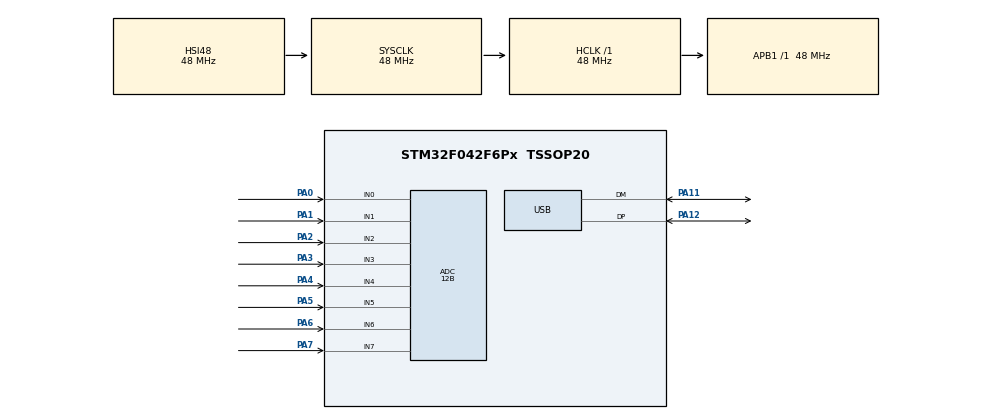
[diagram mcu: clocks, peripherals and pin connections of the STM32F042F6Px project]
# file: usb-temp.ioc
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ADC.ClockPrescaler=ADC_CLOCK_ASYNC_DIV1
ADC.ContinuousConvMode=ENABLE
ADC.DMAContinuousRequests=ENABLE
ADC.DataAlign=ADC_DATAALIGN_RIGHT
ADC.EOCSelection=ADC_EOC_SEQ_CONV
ADC.Overrun=ADC_OVR_DATA_OVERWRITTEN
ADC.Resolution=ADC_RESOLUTION_12B
ADC.SamplingTime=ADC_SAMPLETIME_239CYCLES_5
Dma.ADC.0.Direction=DMA_PERIPH_TO_MEMORY
Dma.ADC.0.Instance=DMA1_Channel1
Dma.ADC.0.MemDataAlignment=DMA_MDATAALIGN_WORD
Dma.ADC.0.MemInc=DMA_MINC_ENABLE
Dma.ADC.0.Mode=DMA_CIRCULAR
Dma.ADC.0.PeriphDataAlignment=DMA_PDATAALIGN_WORD
Dma.ADC.0.PeriphInc=DMA_PINC_DISABLE
Dma.ADC.0.Priority=DMA_PRIORITY_MEDIUM
Dma.Request0=ADC
Mcu.Family=STM32F0
Mcu.Name=STM32F042F6Px
Mcu.Package=TSSOP20
NVIC.DMA1_Channel1_IRQn=true\:0\:0\:false\:false\:true\:false\:true\:true
NVIC.USB_IRQn=true\:0\:0\:false\:false\:true\:false\:true\:true
PA0.Signal=SharedAnalog_PA0
PA1.Signal=SharedAnalog_PA1
PA11.Mode=Device
PA11.Signal=USB_DM
PA12.Mode=Device
PA12.Signal=USB_DP
PA13.Mode=Serial_Wire
PA13.Signal=SYS_SWDIO
PA14.Mode=Serial_Wire
PA14.Signal=SYS_SWCLK
PA2.Signal=SharedAnalog_PA2
PA3.Signal=SharedAnalog_PA3
PA4.Signal=SharedAnalog_PA4
PA5.Signal=SharedAnalog_PA5
PA6.Signal=SharedAnalog_PA6
PA7.Signal=SharedAnalog_PA7
ProjectManager.HeapSize=0x200
ProjectManager.StackSize=0x400
ProjectManager.TargetToolchain=STM32CubeIDE
RCC.AHBFreq_Value=48000000
RCC.APB1Freq_Value=48000000
RCC.APB1TimFreq_Value=48000000
RCC.HCLKFreq_Value=48000000
RCC.SYSCLKFreq_VALUE=48000000
RCC.SYSCLKSource=RCC_SYSCLKSOURCE_HSI48
RCC.USBFreq_Value=48000000
SH.SharedAnalog_PA0.0=GPIO_Analog
SH.SharedAnalog_PA0.1=ADC_IN0,IN0
SH.SharedAnalog_PA1.0=GPIO_Analog
SH.SharedAnalog_PA1.1=ADC_IN1,IN1
SH.SharedAnalog_PA2.0=GPIO_Analog
SH.SharedAnalog_PA2.1=ADC_IN2,IN2
SH.SharedAnalog_PA3.0=GPIO_Analog
SH.SharedAnalog_PA3.1=ADC_IN3,IN3
SH.SharedAnalog_PA4.0=GPIO_Analog
SH.SharedAnalog_PA4.1=ADC_IN4,IN4
SH.SharedAnalog_PA5.0=GPIO_Analog
SH.SharedAnalog_PA5.1=ADC_IN5,IN5
SH.SharedAnalog_PA6.0=GPIO_Analog
SH.SharedAnalog_PA6.1=ADC_IN6,IN6
SH.SharedAnalog_PA7.0=GPIO_Analog
SH.SharedAnalog_PA7.1=ADC_IN7,IN7
USB_DEVICE.APP_RX_DATA_SIZE=128
USB_DEVICE.APP_TX_DATA_SIZE=128
USB_DEVICE.CLASS_NAME_FS=CDC
USB_DEVICE.VirtualMode=Cdc
USB_DEVICE.VirtualModeFS=Cdc_FS
VP_ADC_TempSens_Input.Mode=IN-TempSens
VP_SYS_VS_PINREMAP.Mode=PINREMAP
VP_USB_DEVICE_VS_USB_DEVICE_CDC_FS.Mode=CDC_FS
board=custom

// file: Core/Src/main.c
/* USER CODE BEGIN Header */
/**
  ******************************************************************************
  * @file           : main.c
  * @brief          : Main program body
  ******************************************************************************
  * @attention
  *
  * Copyright (c) 2023 STMicroelectronics.
  * All rights reserved.
  *
  * This software is licensed under terms that can be found in the LICENSE file
  * in the root directory of this software component.
  * If no LICENSE file comes with this software, it is provided AS-IS.
  *
  ******************************************************************************
  */
/* USER CODE END Header */
#include "main.h"
#include "usb_device.h"

/* USER CODE BEGIN Includes */
#include "usbd_cdc_if.h"
#include <math.h>
/* USER CODE END Includes */

ADC_HandleTypeDef hadc;
DMA_HandleTypeDef hdma_adc;

/* USER CODE BEGIN PV */
uint32_t adc[9]; //AD results will be stored here 0-7, Internal Temperature 8

const uint8_t* json1 = (const uint8_t*)"{ \"temp\" : ["; //14
const uint8_t* json2 = (const uint8_t*)"] }\n"; //4
const uint8_t* sep   = (const uint8_t*)", ";

/* USER CODE END PV */

void SystemClock_Config(void);
static void MX_GPIO_Init(void);
static void MX_DMA_Init(void);
static void MX_ADC_Init(void);

/* USER CODE BEGIN 0 */
double thermistor_to_temperature(
		double resistance
	   ,double nominal_resistance
	   ,double beta_value
	   ,double nominal_temperature
	   )
{
    // Steinhart-Hart equation
    double steinhart = log(resistance / nominal_resistance) / beta_value;
    steinhart += 1.0 / (nominal_temperature + 273.15);
    steinhart = 1.0 / steinhart - 273.15;

    return steinhart;
}

uint16_t pow10(uint8_t x)
{
	uint16_t res = 1;
	for (uint8_t i = 0; i < x; i++) {
		res*=10;
	}
	return res;
}

uint8_t toString(double number, uint8_t *target, uint8_t size)
/*
 * Target must be at least 6 long "ABC.EF"
 */
{
	//integer part
	uint8_t realsize = 4;
	uint16_t x = (uint16_t)number;
	uint8_t f = (uint8_t)((number-x)*100);
	uint16_t d = pow10(size-2-1-1); //2 for the float part, 1 for the '.'
	uint8_t leading = 1;

	for(uint8_t i = 0; i<size-3; i++) {
		uint8_t res = x/d;
		x -= d*res;
		d /= 10;
		target[i] = res+0x30;
		if (leading) {
			if (res != 0) {
				leading = 0;
			}
		} else {
			realsize++;
		}
	}

	//float part
	target[size-3] = '.';
	uint8_t temp = f/10;
	target[size-2] = temp+0x30;
	target[size-1] = f-(temp*10)+0x30;

	return realsize;
}

void calibrateAD() {
	  HAL_ADCEx_Calibration_Start(&hadc);
	  while (HAL_ADC_GetState(&hadc) != HAL_ADC_STATE_READY) {}
}
/* USER CODE END 0 */

int main(void)
{

  /* MCU Configuration--------------------------------------------------------*/

  /* Reset of all peripherals, Initializes the Flash interface and the Systick. */
  HAL_Init();

  /* Configure the system clock */
  SystemClock_Config();

  /* Initialize all configured peripherals */
  MX_GPIO_Init();
  MX_DMA_Init();
  MX_ADC_Init();
  MX_USB_DEVICE_Init();
  /* USER CODE BEGIN 2 */
  calibrateAD();
  HAL_ADC_Start_DMA(&hadc, adc, 9); //Start AD conversion with DM
  uint8_t data[8] = {0};
  uint32_t avg[9] = {0};
  uint32_t cnt = 0;
  float res = 0, powersource = 0;
  /* USER CODE END 2 */

  /* Infinite loop */
  /* USER CODE BEGIN WHILE */
  //TODO: Calibrate internal sensor, re-calibrate AD if internal changes +-5Celsius
  while (1)
  {
	  //Running average for all channel
	  for (uint8_t x = 0 ; x < 9; x++) {
		  avg[x] += adc[x];
		  avg[x] /= 2;
	  }
	  cnt++;
	  //We collect this many - but don't forget that this is our loop here actual runs are far more our sampling is depending on the main loop run time
	  if (cnt == 320000) { //Magic number generated by how fast I can read on serial console - can be changed, but the lower the number the more USB Bandwidth we will use

		  while (CDC_Transmit_FS((uint8_t*)json1, 14) != USBD_OK) {}; //Send json1
		  //Send Channel values
		  for (uint8_t x = 0 ; x < 9; x++) {
			  //Convert AD value to voltage
			  powersource = 3.3/4096;
			  res = avg[x]*powersource/4096;
			  //Calculate the R of the NTC
			  res = res/(powersource-res)*10000;
			  //Convert R to Temperature
			  res = thermistor_to_temperature(res, 10000, 3950, 25);
			  //Fix non connected NTC to 0
			  if (res < 0) res = 0;
			  //Convert the value to characters
			  uint8_t s = toString(res, data, 8);
			  //Send number
			  while (CDC_Transmit_FS(&data[8-s], s) != USBD_OK) {};
			  //Add "," unless this is the last value in the array
			  if (x != 8) while (CDC_Transmit_FS((uint8_t*)sep, 2) != USBD_OK) {};
		  }

		  while (CDC_Transmit_FS((uint8_t*)json2, 4) != USBD_OK) {}; //Send json2
		  cnt = 0;
	  }
    /* USER CODE END WHILE */

  }
}

void SystemClock_Config(void)
{
  RCC_OscInitTypeDef RCC_OscInitStruct = {0};
  RCC_ClkInitTypeDef RCC_ClkInitStruct = {0};
  RCC_PeriphCLKInitTypeDef PeriphClkInit = {0};

  /** Initializes the RCC Oscillators according to the specified parameters
  * in the RCC_OscInitTypeDef structure.
  */
  RCC_OscInitStruct.OscillatorType = RCC_OSCILLATORTYPE_HSI14|RCC_OSCILLATORTYPE_HSI48;
  RCC_OscInitStruct.HSI48State = RCC_HSI48_ON;
  RCC_OscInitStruct.HSI14State = RCC_HSI14_ON;
  RCC_OscInitStruct.HSI14CalibrationValue = 16;
  RCC_OscInitStruct.PLL.PLLState = RCC_PLL_NONE;
  if (HAL_RCC_OscConfig(&RCC_OscInitStruct) != HAL_OK)
  {
    Error_Handler();
  }

  /** Initializes the CPU, AHB and APB buses clocks
  */
  RCC_ClkInitStruct.ClockType = RCC_CLOCKTYPE_HCLK|RCC_CLOCKTYPE_SYSCLK
                              |RCC_CLOCKTYPE_PCLK1;
  RCC_ClkInitStruct.SYSCLKSource = RCC_SYSCLKSOURCE_HSI48;
  RCC_ClkInitStruct.AHBCLKDivider = RCC_SYSCLK_DIV1;
  RCC_ClkInitStruct.APB1CLKDivider = RCC_HCLK_DIV1;

  if (HAL_RCC_ClockConfig(&RCC_ClkInitStruct, FLASH_LATENCY_1) != HAL_OK)
  {
    Error_Handler();
  }
  PeriphClkInit.PeriphClockSelection = RCC_PERIPHCLK_USB;
  PeriphClkInit.UsbClockSelection = RCC_USBCLKSOURCE_HSI48;

  if (HAL_RCCEx_PeriphCLKConfig(&PeriphClkInit) != HAL_OK)
  {
    Error_Handler();
  }
}

static void MX_ADC_Init(void)
{

  ADC_ChannelConfTypeDef sConfig = {0};

  /** Configure the global features of the ADC (Clock, Resolution, Data Alignment and number of conversion)
  */
  hadc.Instance = ADC1;
  hadc.Init.ClockPrescaler = ADC_CLOCK_ASYNC_DIV1;
  hadc.Init.Resolution = ADC_RESOLUTION_12B;
  hadc.Init.DataAlign = ADC_DATAALIGN_RIGHT;
  hadc.Init.ScanConvMode = ADC_SCAN_DIRECTION_FORWARD;
  hadc.Init.EOCSelection = ADC_EOC_SEQ_CONV;
  hadc.Init.LowPowerAutoWait = DISABLE;
  hadc.Init.LowPowerAutoPowerOff = DISABLE;
  hadc.Init.ContinuousConvMode = ENABLE;
  hadc.Init.DiscontinuousConvMode = DISABLE;
  hadc.Init.ExternalTrigConv = ADC_SOFTWARE_START;
  hadc.Init.ExternalTrigConvEdge = ADC_EXTERNALTRIGCONVEDGE_NONE;
  hadc.Init.DMAContinuousRequests = ENABLE;
  hadc.Init.Overrun = ADC_OVR_DATA_OVERWRITTEN;
  if (HAL_ADC_Init(&hadc) != HAL_OK)
  {
    Error_Handler();
  }

  /** Configure for the selected ADC regular channel to be converted.
  */
  sConfig.Channel = ADC_CHANNEL_0;
  sConfig.Rank = ADC_RANK_CHANNEL_NUMBER;
  sConfig.SamplingTime = ADC_SAMPLETIME_239CYCLES_5;
  if (HAL_ADC_ConfigChannel(&hadc, &sConfig) != HAL_OK)
  {
    Error_Handler();
  }

  /** Configure for the selected ADC regular channel to be converted.
  */
  sConfig.Channel = ADC_CHANNEL_1;
  if (HAL_ADC_ConfigChannel(&hadc, &sConfig) != HAL_OK)
  {
    Error_Handler();
  }

  /** Configure for the selected ADC regular channel to be converted.
  */
  sConfig.Channel = ADC_CHANNEL_2;
  if (HAL_ADC_ConfigChannel(&hadc, &sConfig) != HAL_OK)
  {
    Error_Handler();
  }

  /** Configure for the selected ADC regular channel to be converted.
  */
  sConfig.Channel = ADC_CHANNEL_3;
  if (HAL_ADC_ConfigChannel(&hadc, &sConfig) != HAL_OK)
  {
    Error_Handler();
  }

  /** Configure for the selected ADC regular channel to be converted.
  */
  sConfig.Channel = ADC_CHANNEL_4;
  if (HAL_ADC_ConfigChannel(&hadc, &sConfig) != HAL_OK)
  {
    Error_Handler();
  }

  /** Configure for the selected ADC regular channel to be converted.
  */
  sConfig.Channel = ADC_CHANNEL_5;
  if (HAL_ADC_ConfigChannel(&hadc, &sConfig) != HAL_OK)
  {
    Error_Handler();
  }

  /** Configure for the selected ADC regular channel to be converted.
  */
  sConfig.Channel = ADC_CHANNEL_6;
  if (HAL_ADC_ConfigChannel(&hadc, &sConfig) != HAL_OK)
  {
    Error_Handler();
  }

  /** Configure for the selected ADC regular channel to be converted.
  */
  sConfig.Channel = ADC_CHANNEL_7;
  if (HAL_ADC_ConfigChannel(&hadc, &sConfig) != HAL_OK)
  {
    Error_Handler();
  }

  /** Configure for the selected ADC regular channel to be converted.
  */
  sConfig.Channel = ADC_CHANNEL_TEMPSENSOR;
  if (HAL_ADC_ConfigChannel(&hadc, &sConfig) != HAL_OK)
  {
    Error_Handler();
  }

}

static void MX_DMA_Init(void)
{

  /* DMA controller clock enable */
  __HAL_RCC_DMA1_CLK_ENABLE();

  /* DMA interrupt init */
  /* DMA1_Channel1_IRQn interrupt configuration */
  HAL_NVIC_SetPriority(DMA1_Channel1_IRQn, 0, 0);
  HAL_NVIC_EnableIRQ(DMA1_Channel1_IRQn);

}

static void MX_GPIO_Init(void)
{
  GPIO_InitTypeDef GPIO_InitStruct = {0};

  /* GPIO Ports Clock Enable */
  __HAL_RCC_GPIOB_CLK_ENABLE();
  __HAL_RCC_GPIOF_CLK_ENABLE();
  __HAL_RCC_GPIOA_CLK_ENABLE();

  /*Configure GPIO pins : PB8 PB1 */
  GPIO_InitStruct.Pin = GPIO_PIN_8|GPIO_PIN_1;
  GPIO_InitStruct.Mode = GPIO_MODE_ANALOG;
  GPIO_InitStruct.Pull = GPIO_NOPULL;
  HAL_GPIO_Init(GPIOB, &GPIO_InitStruct);

  /*Configure GPIO pins : PF0 PF1 */
  GPIO_InitStruct.Pin = GPIO_PIN_0|GPIO_PIN_1;
  GPIO_InitStruct.Mode = GPIO_MODE_ANALOG;
  GPIO_InitStruct.Pull = GPIO_NOPULL;
  HAL_GPIO_Init(GPIOF, &GPIO_InitStruct);

}

void Error_Handler(void)
{
  __disable_irq();
  while (1)
  {
  }
}
